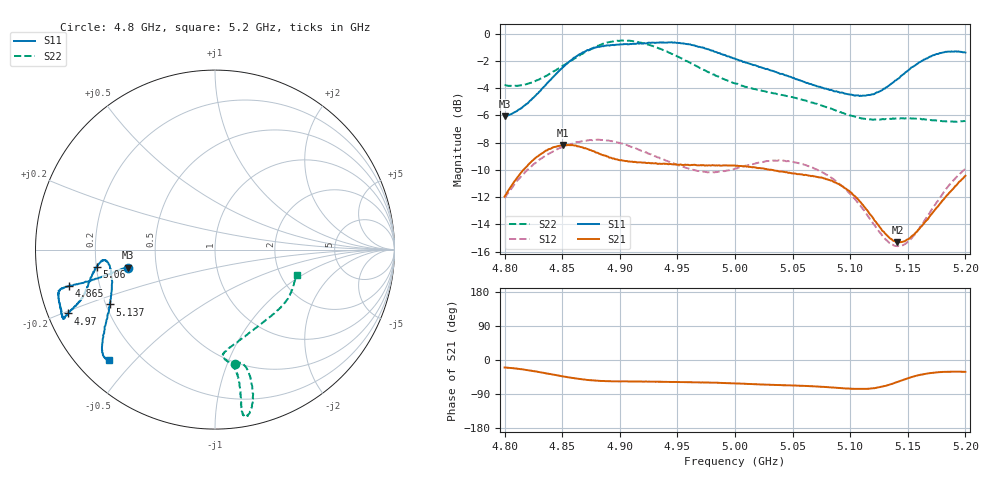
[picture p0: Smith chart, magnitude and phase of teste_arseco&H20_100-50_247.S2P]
! Network Analyzer HP8722D
! Hewlett-Packard
! Data name: Linha & Wilkinson
! Saver's name: Rodrigo Anjos
! Comments: Teste da utilização de aquisição
! continua pelo VNA HP8722D
! Time and date: 6/5/2025 14:37
!  Frequency  S11  S21  S12  S22
# HZ  S  MA R 50
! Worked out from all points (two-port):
!   401 points, 4.8 GHz to 5.2 GHz, reference 50 ohm
!   highest |S21| = -8.17 dB at 4.851 GHz (marker M1); lowest = -15.3 dB at 5.141 GHz (marker M2)
!   |S21| within 3 dB of the highest: 4.806 GHz to 5.093 GHz (286.6 MHz wide, 5.79 % of centre); 5.191649 GHz to end of sweep
!   lowest |S11| = -6.1 dB at 4.8 GHz (marker M3), VSWR 2.98, Z = 17 - j4.55 ohm
!   |S11| at or under -10 dB: nowhere
!   |S22| runs from -6.5 to -0.5 dB; largest |S21 - S12| = 0.62
!   S11 on the Smith chart (normalised r, x): 4.8 GHz: 0.34, -0.09; 4.865 GHz: 0.09, -0.12; 4.97 GHz: 0.06, -0.21; 5.06 GHz: 0.20, -0.07; 5.137 GHz: 0.22, -0.23; 5.2 GHz: 0.09, -0.42
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4.8e9  0.4969 -168.3  0.2524 -19.7  0.2488 -140.9  0.6486 -80.4
4.824e9  0.5778 -167.5  0.3413 -28.8  0.3282 -144.2  0.6631 -75.9
4.851e9  0.7563 -165.8  0.3903 -43.6  0.3845 -149.4  0.7651 -74.6
4.865e9  0.8397 -166.1  0.3849 -50.0  0.4008 -151.8  0.831 -75.2
4.867e9  0.8482 -165.9  0.3833 -50.9  0.403 -152.1  0.8427 -75.4
4.88e9  0.8923 -165.5  0.3656 -54.7  0.4082 -154.2  0.8995 -76.7
4.9e9  0.9136 -162.7  0.3429 -56.4  0.3965 -156.5  0.942 -79.1
4.934e9  0.9286 -156.5  0.333 -57.5  0.3513 -155.7  0.883 -80.5
4.97e9  0.8926 -156.5  0.3291 -59.2  0.3126 -147.0  0.7464 -79.6
5e9  0.8091 -159.0  0.3279 -61.9  0.3195 -137.2  0.6566 -81.3
5.036e9  0.723 -165.7  0.3134 -65.9  0.3413 -134.4  0.6016 -85.7
5.06e9  0.6662 -171.8  0.3025 -68.3  0.3303 -136.3  0.5695 -84.2
5.067e9  0.6499 -173.1  0.3006 -69.2  0.3229 -136.8  0.5589 -82.5
5.085e9  0.618 -174.5  0.287 -72.6  0.2934 -138.4  0.528 -75.8
5.101e9  0.5975 -172.1  0.2607 -75.9  0.2552 -138.8  0.4999 -66.5
5.116e9  0.5961 -165.4  0.2208 -75.9  0.2123 -135.5  0.4848 -55.7
5.134e9  0.6468 -154.3  0.178 -65.1  0.1705 -120.6  0.4864 -43.3
5.137e9  0.6607 -152.4  0.174 -62.3  0.1679 -116.8  0.4887 -41.5
5.141e9  0.6813 -150.2  0.1713 -57.8  0.1658 -111.7  0.4885 -39.0
5.154e9  0.7548 -144.5  0.1813 -44.5  0.1789 -95.0  0.4881 -32.4
5.173e9  0.835 -139.0  0.2239 -33.2  0.2333 -80.8  0.4808 -24.3
5.2e9  0.8528 -133.7  0.3007 -31.3  0.3192 -77.1  0.4781 -17.5
